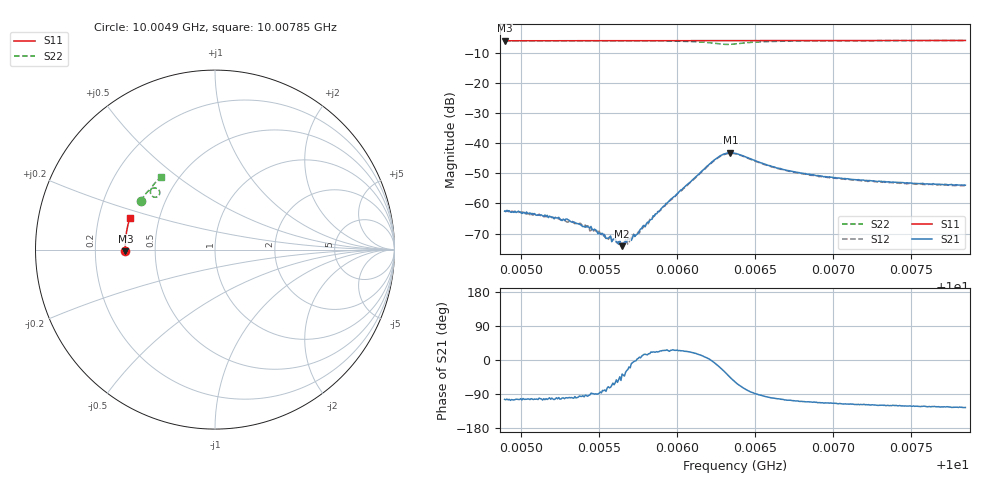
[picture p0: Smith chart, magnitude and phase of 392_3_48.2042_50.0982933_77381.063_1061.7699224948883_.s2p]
#  HZ  S  RI  R  50.00
! Rohde & Schwarz Vector Network Analyzer
! Rohde-Schwarz,ZNB20-2Port,1311601062101988,3.16
! Created: UTC 3/20/2024, 11:53:40 AM
! freq[Hz]  re:S11  im:S11  re:S21  im:S21  re:S12  im:S12  re:S22  im:S22
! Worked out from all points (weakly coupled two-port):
!   401 points, 10.0049 GHz to 10.00785 GHz, reference 50 ohm
!   highest |S21| = -43.20 dB at 10.00634 GHz (marker M1); lowest = -74.2 dB at 10.00565 GHz (marker M2)
!   lowest |S11| = -6.0 dB at 10.0049 GHz (marker M3), VSWR 2.99, Z = 16.7 - j0.4 ohm
!   |S11| at or under -10 dB: nowhere
!   |S22| runs from -7.2 to -6.0 dB; largest |S21 - S12| = 0.00041
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1.0004897e10  -0.4992 -0.00899  -0.000178 -0.00072  -0.000143 -0.000753  -0.4129 0.2715
1.0005103e10  -0.4998 0.00456  -0.000146 -0.000621  -0.000127 -0.000623  -0.4054 0.2837
1.0005236e10  -0.4998 0.0132  -0.000124 -0.000562  -6.93e-05 -0.000541  -0.4004 0.2916
1.0005302e10  -0.4998 0.0174  -9.52e-05 -0.000528  -6.77e-05 -0.000484  -0.3977 0.2954
1.0005391e10  -0.4999 0.0231  -4.49e-05 -0.000423  -2.51e-05 -0.000435  -0.3938 0.3007
1.0005435e10  -0.4996 0.0261  -2.53e-05 -0.000407  1.87e-06 -0.00042  -0.3919 0.3035
1.0005516e10  -0.4996 0.0313  1.69e-05 -0.000317  3.86e-05 -0.000301  -0.3883 0.3083
1.0005546e10  -0.4996 0.0332  3.29e-05 -0.00026  5.87e-05 -0.000259  -0.3868 0.3101
1.0005649e10  -0.4991 0.0398  0.000156 -0.000118  0.000168 -0.000135  -0.3816 0.3165
1.0005678e10  -0.4991 0.0419  0.000203 -0.000107  0.000205 -9.99e-05  -0.38 0.3182
1.0005715e10  -0.499 0.0443  0.000266 -3.24e-05  0.000271 -3.91e-05  -0.3778 0.3206
1.0005745e10  -0.4989 0.0462  0.000308 1.33e-05  0.000312 2.43e-05  -0.376 0.3225
1.0005774e10  -0.4988 0.048  0.000379 6.82e-05  0.000366 7.79e-05  -0.3741 0.3247
1.0005885e10  -0.4982 0.0552  0.000689 0.00028  0.000658 0.000308  -0.3663 0.3314
1.0006231e10  -0.4956 0.0775  0.00504 -0.000406  0.00494 -0.000168  -0.3127 0.3321
1.000629e10  -0.4949 0.0809  0.00579 -0.00276  0.00582 -0.00242  -0.3085 0.3109
1.0006342e10  -0.4946 0.084  0.00475 -0.00503  0.00493 -0.00467  -0.3211 0.2943
1.0006372e10  -0.4943 0.0858  0.00358 -0.00576  0.00384 -0.00544  -0.3323 0.2915
1.0006637e10  -0.4921 0.1029  -0.000793 -0.00378  -0.000594 -0.0038  -0.3583 0.3321
1.0006866e10  -0.4894 0.1174  -0.00109 -0.00278  -0.000933 -0.00277  -0.3483 0.3532
1.000736e10  -0.482 0.1484  -0.00116 -0.00196  -0.00103 -0.00196  -0.3235 0.3824
1.0007846e10  -0.4728 0.1784  -0.00116 -0.00164  -0.00104 -0.00163  -0.2989 0.4051
